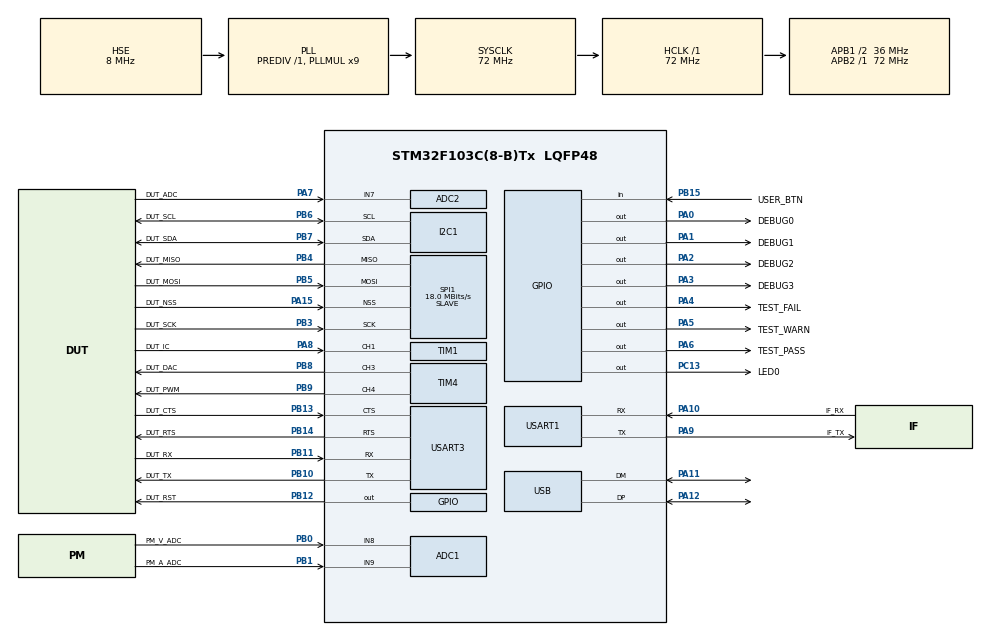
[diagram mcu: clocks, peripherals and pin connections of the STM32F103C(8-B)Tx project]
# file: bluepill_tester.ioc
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ADC1.Channel-4\#ChannelRegularConversion=ADC_CHANNEL_9
ADC1.Channel-6\#ChannelRegularConversion=ADC_CHANNEL_8
ADC1.ContinuousConvMode=ENABLE
ADC1.DataAlign=ADC_DATAALIGN_RIGHT
ADC1.DiscontinuousConvMode=DISABLE
ADC1.EnableAnalogWatchDog=false
ADC1.EnableRegularConversion=ENABLE
ADC1.ExternalTrigConv=ADC_SOFTWARE_START
ADC1.InjNumberOfConversion=0
ADC1.NbrOfConversion=2
ADC1.NbrOfConversionFlag=1
ADC1.Rank-4\#ChannelRegularConversion=1
ADC1.Rank-6\#ChannelRegularConversion=2
ADC1.SamplingTime-4\#ChannelRegularConversion=ADC_SAMPLETIME_1CYCLE_5
ADC1.SamplingTime-6\#ChannelRegularConversion=ADC_SAMPLETIME_1CYCLE_5
ADC1.ScanConvMode=ADC_SCAN_ENABLE
ADC1.master=1
ADC2.Channel-8\#ChannelRegularConversion=ADC_CHANNEL_7
ADC2.ContinuousConvMode=ENABLE
ADC2.NbrOfConversionFlag=1
ADC2.Rank-8\#ChannelRegularConversion=1
ADC2.SamplingTime-8\#ChannelRegularConversion=ADC_SAMPLETIME_1CYCLE_5
Dma.ADC1.4.Direction=DMA_PERIPH_TO_MEMORY
Dma.ADC1.4.Instance=DMA1_Channel1
Dma.ADC1.4.MemDataAlignment=DMA_MDATAALIGN_HALFWORD
Dma.ADC1.4.MemInc=DMA_MINC_ENABLE
Dma.ADC1.4.Mode=DMA_NORMAL
Dma.ADC1.4.PeriphDataAlignment=DMA_PDATAALIGN_HALFWORD
Dma.ADC1.4.PeriphInc=DMA_PINC_DISABLE
Dma.ADC1.4.Priority=DMA_PRIORITY_LOW
Dma.Request0=USART1_RX
Dma.Request1=USART1_TX
Dma.Request2=USART3_RX
Dma.Request3=USART3_TX
Dma.Request4=ADC1
Dma.USART1_RX.0.Direction=DMA_PERIPH_TO_MEMORY
Dma.USART1_RX.0.Instance=DMA1_Channel5
Dma.USART1_RX.0.MemDataAlignment=DMA_MDATAALIGN_BYTE
Dma.USART1_RX.0.MemInc=DMA_MINC_ENABLE
Dma.USART1_RX.0.Mode=DMA_NORMAL
Dma.USART1_RX.0.PeriphDataAlignment=DMA_PDATAALIGN_BYTE
Dma.USART1_RX.0.PeriphInc=DMA_PINC_DISABLE
Dma.USART1_RX.0.Priority=DMA_PRIORITY_LOW
Dma.USART1_TX.1.Direction=DMA_MEMORY_TO_PERIPH
Dma.USART1_TX.1.Instance=DMA1_Channel4
Dma.USART1_TX.1.MemDataAlignment=DMA_MDATAALIGN_BYTE
Dma.USART1_TX.1.MemInc=DMA_MINC_ENABLE
Dma.USART1_TX.1.Mode=DMA_NORMAL
Dma.USART1_TX.1.PeriphDataAlignment=DMA_PDATAALIGN_BYTE
Dma.USART1_TX.1.PeriphInc=DMA_PINC_DISABLE
Dma.USART1_TX.1.Priority=DMA_PRIORITY_LOW
Dma.USART3_RX.2.Direction=DMA_PERIPH_TO_MEMORY
Dma.USART3_RX.2.Instance=DMA1_Channel3
Dma.USART3_RX.2.MemDataAlignment=DMA_MDATAALIGN_BYTE
Dma.USART3_RX.2.MemInc=DMA_MINC_ENABLE
Dma.USART3_RX.2.Mode=DMA_NORMAL
Dma.USART3_RX.2.PeriphDataAlignment=DMA_PDATAALIGN_BYTE
Dma.USART3_RX.2.PeriphInc=DMA_PINC_DISABLE
Dma.USART3_RX.2.Priority=DMA_PRIORITY_LOW
Dma.USART3_TX.3.Direction=DMA_MEMORY_TO_PERIPH
Dma.USART3_TX.3.Instance=DMA1_Channel2
Dma.USART3_TX.3.MemDataAlignment=DMA_MDATAALIGN_BYTE
Dma.USART3_TX.3.MemInc=DMA_MINC_ENABLE
Dma.USART3_TX.3.Mode=DMA_NORMAL
Dma.USART3_TX.3.PeriphDataAlignment=DMA_PDATAALIGN_BYTE
Dma.USART3_TX.3.PeriphInc=DMA_PINC_DISABLE
Dma.USART3_TX.3.Priority=DMA_PRIORITY_LOW
I2C1.DualAddressMode=I2C_DUALADDRESS_ENABLE
I2C1.GeneralCallMode=I2C_GENERALCALL_ENABLE
I2C1.I2C_Mode=I2C_Fast
I2C1.NoStretchMode=I2C_NOSTRETCH_DISABLE
I2C1.OwnAddress=85
I2C1.OwnAddress2=64
IWDG.Prescaler=IWDG_PRESCALER_32
Mcu.Family=STM32F1
Mcu.Name=STM32F103C(8-B)Tx
Mcu.Package=LQFP48
NVIC.ADC1_2_IRQn=true\:0\:0\:false\:false\:true\:true
NVIC.DMA1_Channel1_IRQn=true\:0\:0\:false\:false\:true\:false
NVIC.DMA1_Channel2_IRQn=true\:0\:0\:false\:false\:true\:false
NVIC.DMA1_Channel3_IRQn=true\:0\:0\:false\:false\:true\:false
NVIC.DMA1_Channel4_IRQn=true\:0\:0\:false\:false\:true\:false
NVIC.DMA1_Channel5_IRQn=true\:0\:0\:false\:false\:true\:false
NVIC.I2C1_ER_IRQn=true\:0\:0\:false\:false\:true\:true
NVIC.I2C1_EV_IRQn=true\:0\:0\:false\:false\:true\:true
NVIC.PriorityGroup=NVIC_PRIORITYGROUP_4
NVIC.SPI1_IRQn=true\:0\:0\:false\:false\:true\:true
NVIC.TIM1_UP_IRQn=true\:0\:0\:false\:false\:true\:true
NVIC.USART3_IRQn=true\:0\:0\:false\:false\:true\:true
NVIC.USB_LP_CAN1_RX0_IRQn=true\:0\:0\:false\:false\:true\:false
PA0-WKUP.GPIO_Label=DEBUG0
PA0-WKUP.GPIO_ModeDefaultOutputPP=GPIO_MODE_OUTPUT_PP
PA0-WKUP.GPIO_Speed=GPIO_SPEED_FREQ_LOW
PA0-WKUP.PinState=GPIO_PIN_RESET
PA0-WKUP.Signal=GPIO_Output
PA1.GPIO_Label=DEBUG1
PA1.GPIO_ModeDefaultOutputPP=GPIO_MODE_OUTPUT_PP
PA1.GPIO_Speed=GPIO_SPEED_FREQ_LOW
PA1.PinState=GPIO_PIN_RESET
PA1.Signal=GPIO_Output
PA10.GPIO_Label=IF_RX
PA10.Mode=Asynchronous
PA10.Signal=USART1_RX
PA11.Mode=Device
PA11.Signal=USB_DM
PA12.Mode=Device
PA12.Signal=USB_DP
PA13.Mode=Serial_Wire
PA13.Signal=SYS_JTMS-SWDIO
PA14.Mode=Serial_Wire
PA14.Signal=SYS_JTCK-SWCLK
PA15.GPIO_Label=DUT_NSS
PA15.GPIO_Mode=GPIO_MODE_INPUT
PA15.GPIO_PuPd=GPIO_NOPULL
PA15.Mode=NSS_Signal_Hard_Input
PA15.Signal=SPI1_NSS
PA2.GPIO_Label=DEBUG2
PA2.GPIO_ModeDefaultOutputPP=GPIO_MODE_OUTPUT_PP
PA2.GPIO_Speed=GPIO_SPEED_FREQ_LOW
PA2.PinState=GPIO_PIN_RESET
PA2.Signal=GPIO_Output
PA3.GPIO_Label=DEBUG3
PA3.GPIO_ModeDefaultOutputPP=GPIO_MODE_OUTPUT_PP
PA3.GPIO_Speed=GPIO_SPEED_FREQ_LOW
PA3.PinState=GPIO_PIN_RESET
PA3.Signal=GPIO_Output
PA4.GPIO_Label=TEST_FAIL
PA4.GPIO_ModeDefaultOutputPP=GPIO_MODE_OUTPUT_PP
PA4.GPIO_Speed=GPIO_SPEED_FREQ_LOW
PA4.PinState=GPIO_PIN_RESET
PA4.Signal=GPIO_Output
PA5.GPIO_Label=TEST_WARN
PA5.GPIO_ModeDefaultOutputPP=GPIO_MODE_OUTPUT_PP
PA5.GPIO_Speed=GPIO_SPEED_FREQ_LOW
PA5.PinState=GPIO_PIN_RESET
PA5.Signal=GPIO_Output
PA6.GPIO_Label=TEST_PASS
PA6.GPIO_ModeDefaultOutputPP=GPIO_MODE_OUTPUT_PP
PA6.GPIO_Speed=GPIO_SPEED_FREQ_LOW
PA6.PinState=GPIO_PIN_RESET
PA6.Signal=GPIO_Output
PA7.GPIO_Label=DUT_ADC
PA7.GPIO_Mode=GPIO_MODE_ANALOG
PA7.Signal=ADCx_IN7
PA8.GPIO_Label=DUT_IC
PA8.GPIO_Mode=GPIO_MODE_INPUT
PA8.GPIO_PuPd=GPIO_PULLUP
PA8.Signal=S_TIM1_CH1
PA9.GPIO_Label=IF_TX
PA9.Mode=Asynchronous
PA9.Signal=USART1_TX
PB0.GPIO_Label=PM_V_ADC
PB0.GPIO_Mode=GPIO_MODE_ANALOG
PB0.Signal=ADCx_IN8
PB1.GPIO_Label=PM_A_ADC
PB1.GPIO_Mode=GPIO_MODE_ANALOG
PB1.Signal=ADCx_IN9
PB10.GPIO_Label=DUT_TX
PB10.GPIO_Mode=GPIO_MODE_AF_PP
PB10.GPIO_Speed=GPIO_SPEED_FREQ_HIGH
PB10.Mode=Asynchronous
PB10.Signal=USART3_TX
PB11.GPIO_Label=DUT_RX
PB11.GPIO_Mode=GPIO_MODE_INPUT
PB11.GPIO_PuPd=GPIO_NOPULL
PB11.Mode=Asynchronous
PB11.Signal=USART3_RX
PB12.GPIO_Label=DUT_RST
PB12.GPIO_ModeDefaultOutputPP=GPIO_MODE_OUTPUT_OD
PB12.GPIO_Speed=GPIO_SPEED_FREQ_LOW
PB12.PinState=GPIO_PIN_SET
PB12.Signal=GPIO_Output
PB13.GPIO_Label=DUT_CTS
PB13.GPIO_Mode=GPIO_MODE_INPUT
PB13.GPIO_PuPd=GPIO_NOPULL
PB13.Mode=CTS_RTS
PB13.Signal=USART3_CTS
PB14.GPIO_Label=DUT_RTS
PB14.GPIO_Mode=GPIO_MODE_AF_PP
PB14.GPIO_Speed=GPIO_SPEED_FREQ_HIGH
PB14.Mode=CTS_RTS
PB14.Signal=USART3_RTS
PB15.GPIO_Label=USER_BTN
PB15.GPIO_Mode=GPIO_MODE_INPUT
PB15.GPIO_PuPd=GPIO_PULLUP
PB15.Signal=GPIO_Input
PB3.GPIO_Label=DUT_SCK
PB3.GPIO_Mode=GPIO_MODE_INPUT
PB3.GPIO_PuPd=GPIO_NOPULL
PB3.Mode=Full_Duplex_Slave
PB3.Signal=SPI1_SCK
PB4.GPIO_Label=DUT_MISO
PB4.GPIO_ModeDefaultPP=GPIO_MODE_AF_PP
PB4.GPIO_Speed=GPIO_SPEED_FREQ_HIGH
PB4.Mode=Full_Duplex_Slave
PB4.Signal=SPI1_MISO
PB5.GPIO_Label=DUT_MOSI
PB5.GPIO_Mode=GPIO_MODE_INPUT
PB5.GPIO_PuPd=GPIO_NOPULL
PB5.Mode=Full_Duplex_Slave
PB5.Signal=SPI1_MOSI
PB6.GPIO_Label=DUT_SCL
PB6.GPIO_Mode=GPIO_MODE_AF_OD
PB6.GPIO_Speed=GPIO_SPEED_FREQ_HIGH
PB6.Mode=I2C
PB6.Signal=I2C1_SCL
PB7.GPIO_Label=DUT_SDA
PB7.GPIO_Mode=GPIO_MODE_AF_OD
PB7.GPIO_Speed=GPIO_SPEED_FREQ_HIGH
PB7.Mode=I2C
PB7.Signal=I2C1_SDA
PB8.GPIO_Label=DUT_DAC
PB8.GPIO_ModeDefaultPP=GPIO_MODE_AF_PP
PB8.GPIO_Speed=GPIO_SPEED_FREQ_LOW
PB8.Signal=S_TIM4_CH3
PB9.GPIO_Label=DUT_PWM
PB9.GPIO_ModeDefaultPP=GPIO_MODE_AF_PP
PB9.GPIO_Speed=GPIO_SPEED_FREQ_LOW
PB9.Signal=S_TIM4_CH4
PC13-TAMPER-RTC.GPIO_Label=LED0
PC13-TAMPER-RTC.GPIO_ModeDefaultOutputPP=GPIO_MODE_OUTPUT_PP
PC13-TAMPER-RTC.GPIO_Speed=GPIO_SPEED_FREQ_LOW
PC13-TAMPER-RTC.PinState=GPIO_PIN_RESET
PC13-TAMPER-RTC.Signal=GPIO_Output
PC14-OSC32_IN.Mode=LSE-External-Oscillator
PC14-OSC32_IN.Signal=RCC_OSC32_IN
PC15-OSC32_OUT.Mode=LSE-External-Oscillator
PC15-OSC32_OUT.Signal=RCC_OSC32_OUT
PD0-OSC_IN.Mode=HSE-External-Oscillator
PD0-OSC_IN.Signal=RCC_OSC_IN
PD1-OSC_OUT.Mode=HSE-External-Oscillator
PD1-OSC_OUT.Signal=RCC_OSC_OUT
ProjectManager.HeapSize=0x200
ProjectManager.StackSize=0x400
ProjectManager.TargetToolchain=SW4STM32
RCC.ADCPresc=RCC_ADCPCLK2_DIV6
RCC.AHBFreq_Value=72000000
RCC.APB1CLKDivider=RCC_HCLK_DIV2
RCC.APB1Freq_Value=36000000
RCC.APB1TimFreq_Value=72000000
RCC.APB2Freq_Value=72000000
RCC.APB2TimFreq_Value=72000000
RCC.HCLKFreq_Value=72000000
RCC.PLLMUL=RCC_PLL_MUL9
RCC.PLLSourceVirtual=RCC_PLLSOURCE_HSE
RCC.RTCClockSelection=RCC_RTCCLKSOURCE_LSE
RCC.SYSCLKFreq_VALUE=72000000
RCC.SYSCLKSource=RCC_SYSCLKSOURCE_PLLCLK
RCC.USBFreq_Value=48000000
RCC.USBPrescaler=RCC_USBCLKSOURCE_PLL_DIV1_5
RTC.Format=RTC_FORMAT_BIN
RTC.Year=18
SH.ADCx_IN7.0=ADC2_IN7,IN7
SH.ADCx_IN8.0=ADC1_IN8,IN8
SH.ADCx_IN9.0=ADC1_IN9,IN9
SH.S_TIM1_CH1.0=TIM1_CH1,Input_Capture1_from_TI1
SH.S_TIM4_CH3.0=TIM4_CH3,PWM Generation3 CH3
SH.S_TIM4_CH4.0=TIM4_CH4,PWM Generation4 CH4
SPI1.BaudRatePrescaler=SPI_BAUDRATEPRESCALER_4
SPI1.CalculateBaudRate=18.0 MBits/s
SPI1.Direction=SPI_DIRECTION_2LINES
SPI1.Mode=SPI_MODE_SLAVE
SPI1.VirtualNSS=VM_NSSHARD
SPI1.VirtualType=VM_SLAVE
TIM1.Channel-Input_Capture1_from_TI1=TIM_CHANNEL_1
TIM4.Channel-PWM\ Generation3\ CH3=TIM_CHANNEL_3
TIM4.Channel-PWM\ Generation4\ CH4=TIM_CHANNEL_4
TIM4.Pulse-PWM\ Generation3\ CH3=1
TIM4.Pulse-PWM\ Generation4\ CH4=32768
USART1.VirtualMode=VM_ASYNC
USART3.VirtualMode=VM_ASYNC
USB.ep0_mps=DEP0CTL_MPS_64
USB_DEVICE.APP_RX_DATA_SIZE=512
USB_DEVICE.APP_TX_DATA_SIZE=512
USB_DEVICE.CLASS_NAME_FS=CDC
USB_DEVICE.MANUFACTURER_STRING=RIOTos
USB_DEVICE.PRODUCT_STRING_CDC_FS=Virtual ComPort
USB_DEVICE.VirtualMode=Cdc
USB_DEVICE.VirtualModeFS=Cdc_FS
VP_IWDG_VS_IWDG.Mode=IWDG_Activate
VP_RTC_No_RTC_Output.Mode=RTC_OUT_NO
VP_RTC_VS_RTC_Activate.Mode=RTC_Enabled
VP_RTC_VS_RTC_Calendar.Mode=RTC_Calendar
VP_USB_DEVICE_VS_USB_DEVICE_CDC_FS.Mode=CDC_FS
board=bluepill_tester

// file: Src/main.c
/**
 ******************************************************************************
 * @file           : main.c
 * @brief          : Main program body
 ******************************************************************************
 * This notice applies to any and all portions of this file
 * that are not between comment pairs USER CODE BEGIN and
 * USER CODE END. Other portions of this file, whether
 * inserted by the user or by software development tools
 * are owned by their respective copyright owners.
 *
 * Copyright (c) 2018 STMicroelectronics International N.V.
 * All rights reserved.
 *
 * Redistribution and use in source and binary forms, with or without
 * modification, are permitted, provided that the following conditions are met:
 *
 * 1. Redistribution of source code must retain the above copyright notice,
 *    this list of conditions and the following disclaimer.
 * 2. Redistributions in binary form must reproduce the above copyright notice,
 *    this list of conditions and the following disclaimer in the documentation
 *    and/or other materials provided with the distribution.
 * 3. Neither the name of STMicroelectronics nor the names of other
 *    contributors to this software may be used to endorse or promote products
 *    derived from this software without specific written permission.
 * 4. This software, including modifications and/or derivative works of this
 *    software, must execute solely and exclusively on microcontroller or
 *    microprocessor devices manufactured by or for STMicroelectronics.
 * 5. Redistribution and use of this software other than as permitted under
 *    this license is void and will automatically terminate your rights under
 *    this license.
 *
 * THIS SOFTWARE IS PROVIDED BY STMICROELECTRONICS AND CONTRIBUTORS "AS IS"
 * AND ANY EXPRESS, IMPLIED OR STATUTORY WARRANTIES, INCLUDING, BUT NOT
 * LIMITED TO, THE IMPLIED WARRANTIES OF MERCHANTABILITY, FITNESS FOR A
 * PARTICULAR PURPOSE AND NON-INFRINGEMENT OF THIRD PARTY INTELLECTUAL PROPERTY
 * RIGHTS ARE DISCLAIMED TO THE FULLEST EXTENT PERMITTED BY LAW. IN NO EVENT
 * SHALL STMICROELECTRONICS OR CONTRIBUTORS BE LIABLE FOR ANY DIRECT, INDIRECT,
 * INCIDENTAL, SPECIAL, EXEMPLARY, OR CONSEQUENTIAL DAMAGES (INCLUDING, BUT NOT
 * LIMITED TO, PROCUREMENT OF SUBSTITUTE GOODS OR SERVICES; LOSS OF USE, DATA,
 * OR PROFITS; OR BUSINESS INTERRUPTION) HOWEVER CAUSED AND ON ANY THEORY OF
 * LIABILITY, WHETHER IN CONTRACT, STRICT LIABILITY, OR TORT (INCLUDING
 * NEGLIGENCE OR OTHERWISE) ARISING IN ANY WAY OUT OF THE USE OF THIS SOFTWARE,
 * EVEN IF ADVISED OF THE POSSIBILITY OF SUCH DAMAGE.
 *
 ******************************************************************************
 */
#include "main.h"
#include "stm32f1xx_hal.h"
#include "usb_device.h"

/* USER CODE BEGIN Includes */
#include "port_usb.h"
#include "port_uart.h"
#include "app_access.h"
#include "app_typedef.h"
#include "app_common.h"
#include "app_defaults.h"
#include "usbd_cdc.h"

#include "app_shell_if.h"
#include "app_i2c.h"
#include "port_dut_uart.h"
#include "app.h"

/* USER CODE END Includes */

ADC_HandleTypeDef hadc1;
ADC_HandleTypeDef hadc2;
DMA_HandleTypeDef hdma_adc1;

I2C_HandleTypeDef hi2c1;

IWDG_HandleTypeDef hiwdg;

RTC_HandleTypeDef hrtc;

SPI_HandleTypeDef hspi1;

TIM_HandleTypeDef htim1;
TIM_HandleTypeDef htim4;

UART_HandleTypeDef huart1;
UART_HandleTypeDef huart3;
DMA_HandleTypeDef hdma_usart1_rx;
DMA_HandleTypeDef hdma_usart1_tx;
DMA_HandleTypeDef hdma_usart3_rx;
DMA_HandleTypeDef hdma_usart3_tx;

/* USER CODE BEGIN PV */
/* Private variables ---------------------------------------------------------*/
#define H_DUT_UART	huart3
#define H_IF_UART	huart1
#define H_DUT_I2C	hi2c1

#define UART_BUF_SIZE	512
/* USER CODE END PV */

void SystemClock_Config(void);
static void MX_GPIO_Init(void);
static void MX_DMA_Init(void);
static void MX_I2C1_Init(void);
static void MX_IWDG_Init(void);
static void MX_RTC_Init(void);
static void MX_TIM1_Init(void);
static void MX_TIM4_Init(void);
static void MX_SPI1_Init(void);
static void MX_USART3_UART_Init(void);
static void MX_ADC1_Init(void);
static void MX_ADC2_Init(void);
static void MX_USART1_UART_Init(void);

void HAL_TIM_MspPostInit(TIM_HandleTypeDef *htim);

/* USER CODE BEGIN PFP */
/* Private function prototypes -----------------------------------------------*/

/* USER CODE END PFP */

int main(void) {
	/* USER CODE BEGIN 1 */
	int32_t led_tick = 0;
  char dut_uart_buf[UART_BUF_SIZE] = { 0 };
	char if_uart_buf[UART_BUF_SIZE] = { 0 };
	char if_usb_buf[UART_BUF_SIZE] = { 0 };

	PORT_USB_t usb_if = {.str = if_usb_buf, .size = sizeof(if_usb_buf), .access = IF_ACCESS, .index = 0, .mode = MODE_REG};
	PORT_UART_t uart_if = {.huart = &H_IF_UART, .str = if_uart_buf, .size = sizeof(if_uart_buf), .access = IF_ACCESS, .mode = MODE_REG};
	PORT_UART_t uart_dut = {.huart = &H_DUT_UART, .str = dut_uart_buf, .size = sizeof(dut_uart_buf), .access = PERIPH_ACCESS, .mode = MODE_ECHO};
	/* USER CODE END 1 */

	/* MCU Configuration----------------------------------------------------------*/

	/* Reset of all peripherals, Initializes the Flash interface and the Systick. */
	HAL_Init();

	/* Configure the system clock */
	SystemClock_Config();

	/* USER CODE BEGIN SysInit */
	__HAL_RCC_I2C1_CLK_ENABLE()
	; /* Prevents i2c clk from toggling at init */
	/* USER CODE END SysInit */

	/* Initialize all configured peripherals */
	MX_GPIO_Init();
	MX_DMA_Init();
	MX_I2C1_Init();
	MX_IWDG_Init();
	MX_RTC_Init();
	MX_TIM1_Init();
	MX_TIM4_Init();
	MX_SPI1_Init();
	MX_USB_DEVICE_Init();
	MX_USART3_UART_Init();
	MX_ADC1_Init();
	MX_ADC2_Init();
	MX_USART1_UART_Init();
	/* USER CODE BEGIN 2 */
	port_uart_init(&uart_if);
	uart_dut_init(&uart_dut);
	app_i2c_init(&H_DUT_I2C);
	execute_reg_change();
	/* USER CODE END 2 */

	/* Infinite loop */
	/* USER CODE BEGIN WHILE */
	while (1) {
		if (led_tick < HAL_GetTick()) {
			if ((FW_REV & 0x03) == 0) {
				led_tick = HAL_GetTick() + 40;
			}
			else if ((FW_REV & 0x03) == 1){
				led_tick = HAL_GetTick() + 200;
			}
			else if ((FW_REV & 0x03) == 2){
				led_tick = HAL_GetTick() + 500;
			}
			else if ((FW_REV & 0x03) == 3){
				led_tick = HAL_GetTick() + 1000;
			}
			HAL_GPIO_TogglePin(LED0_GPIO_Port, LED0_Pin);
		}
		if (HAL_IWDG_Refresh(&hiwdg) != HAL_OK) {
		}
		port_usb_poll(&usb_if);
		port_uart_poll(&uart_if);
		port_uart_poll(&uart_dut);
		/* USER CODE END WHILE */

	}

}

void SystemClock_Config(void) {

	RCC_OscInitTypeDef RCC_OscInitStruct;
	RCC_ClkInitTypeDef RCC_ClkInitStruct;
	RCC_PeriphCLKInitTypeDef PeriphClkInit;

	/**Initializes the CPU, AHB and APB busses clocks
	 */
	RCC_OscInitStruct.OscillatorType = RCC_OSCILLATORTYPE_LSI
			| RCC_OSCILLATORTYPE_HSE | RCC_OSCILLATORTYPE_LSE;
	RCC_OscInitStruct.HSEState = RCC_HSE_ON;
	RCC_OscInitStruct.HSEPredivValue = RCC_HSE_PREDIV_DIV1;
	RCC_OscInitStruct.LSEState = RCC_LSE_ON;
	RCC_OscInitStruct.HSIState = RCC_HSI_ON;
	RCC_OscInitStruct.LSIState = RCC_LSI_ON;
	RCC_OscInitStruct.PLL.PLLState = RCC_PLL_ON;
	RCC_OscInitStruct.PLL.PLLSource = RCC_PLLSOURCE_HSE;
	RCC_OscInitStruct.PLL.PLLMUL = RCC_PLL_MUL9;
	if (HAL_RCC_OscConfig(&RCC_OscInitStruct) != HAL_OK) {
		_Error_Handler(__FILE__, __LINE__);
	}

	/**Initializes the CPU, AHB and APB busses clocks
	 */
	RCC_ClkInitStruct.ClockType = RCC_CLOCKTYPE_HCLK | RCC_CLOCKTYPE_SYSCLK
			| RCC_CLOCKTYPE_PCLK1 | RCC_CLOCKTYPE_PCLK2;
	RCC_ClkInitStruct.SYSCLKSource = RCC_SYSCLKSOURCE_PLLCLK;
	RCC_ClkInitStruct.AHBCLKDivider = RCC_SYSCLK_DIV1;
	RCC_ClkInitStruct.APB1CLKDivider = RCC_HCLK_DIV2;
	RCC_ClkInitStruct.APB2CLKDivider = RCC_HCLK_DIV1;

	if (HAL_RCC_ClockConfig(&RCC_ClkInitStruct, FLASH_LATENCY_2) != HAL_OK) {
		_Error_Handler(__FILE__, __LINE__);
	}

	PeriphClkInit.PeriphClockSelection = RCC_PERIPHCLK_RTC | RCC_PERIPHCLK_ADC
			| RCC_PERIPHCLK_USB;
	PeriphClkInit.RTCClockSelection = RCC_RTCCLKSOURCE_LSE;
	PeriphClkInit.AdcClockSelection = RCC_ADCPCLK2_DIV6;
	PeriphClkInit.UsbClockSelection = RCC_USBCLKSOURCE_PLL_DIV1_5;
	if (HAL_RCCEx_PeriphCLKConfig(&PeriphClkInit) != HAL_OK) {
		_Error_Handler(__FILE__, __LINE__);
	}

	/**Configure the Systick interrupt time
	 */
	HAL_SYSTICK_Config(HAL_RCC_GetHCLKFreq() / 1000);

	/**Configure the Systick
	 */
	HAL_SYSTICK_CLKSourceConfig(SYSTICK_CLKSOURCE_HCLK);

	/* SysTick_IRQn interrupt configuration */
	HAL_NVIC_SetPriority(SysTick_IRQn, 0, 0);
}

/* ADC1 init function */
static void MX_ADC1_Init(void) {

	ADC_ChannelConfTypeDef sConfig;

	/**Common config
	 */
	hadc1.Instance = ADC1;
	hadc1.Init.ScanConvMode = ADC_SCAN_ENABLE;
	hadc1.Init.ContinuousConvMode = ENABLE;
	hadc1.Init.DiscontinuousConvMode = DISABLE;
	hadc1.Init.ExternalTrigConv = ADC_SOFTWARE_START;
	hadc1.Init.DataAlign = ADC_DATAALIGN_RIGHT;
	hadc1.Init.NbrOfConversion = 2;
	if (HAL_ADC_Init(&hadc1) != HAL_OK) {
		_Error_Handler(__FILE__, __LINE__);
	}

	/**Configure Regular Channel
	 */
	sConfig.Channel = ADC_CHANNEL_9;
	sConfig.Rank = ADC_REGULAR_RANK_1;
	sConfig.SamplingTime = ADC_SAMPLETIME_1CYCLE_5;
	if (HAL_ADC_ConfigChannel(&hadc1, &sConfig) != HAL_OK) {
		_Error_Handler(__FILE__, __LINE__);
	}

	/**Configure Regular Channel
	 */
	sConfig.Channel = ADC_CHANNEL_8;
	sConfig.Rank = ADC_REGULAR_RANK_2;
	if (HAL_ADC_ConfigChannel(&hadc1, &sConfig) != HAL_OK) {
		_Error_Handler(__FILE__, __LINE__);
	}

}

/* ADC2 init function */
static void MX_ADC2_Init(void) {

	ADC_ChannelConfTypeDef sConfig;

	/**Common config
	 */
	hadc2.Instance = ADC2;
	hadc2.Init.ScanConvMode = ADC_SCAN_DISABLE;
	hadc2.Init.ContinuousConvMode = ENABLE;
	hadc2.Init.DiscontinuousConvMode = DISABLE;
	hadc2.Init.ExternalTrigConv = ADC_SOFTWARE_START;
	hadc2.Init.DataAlign = ADC_DATAALIGN_RIGHT;
	hadc2.Init.NbrOfConversion = 1;
	if (HAL_ADC_Init(&hadc2) != HAL_OK) {
		_Error_Handler(__FILE__, __LINE__);
	}

	/**Configure Regular Channel
	 */
	sConfig.Channel = ADC_CHANNEL_7;
	sConfig.Rank = ADC_REGULAR_RANK_1;
	sConfig.SamplingTime = ADC_SAMPLETIME_1CYCLE_5;
	if (HAL_ADC_ConfigChannel(&hadc2, &sConfig) != HAL_OK) {
		_Error_Handler(__FILE__, __LINE__);
	}

}

/* I2C1 init function */
static void MX_I2C1_Init(void) {

	hi2c1.Instance = I2C1;
	hi2c1.Init.ClockSpeed = 400000;
	hi2c1.Init.DutyCycle = I2C_DUTYCYCLE_2;
	hi2c1.Init.OwnAddress1 = 170;
	hi2c1.Init.AddressingMode = I2C_ADDRESSINGMODE_7BIT;
	hi2c1.Init.DualAddressMode = I2C_DUALADDRESS_ENABLE;
	hi2c1.Init.OwnAddress2 = 128;
	hi2c1.Init.GeneralCallMode = I2C_GENERALCALL_ENABLE;
	hi2c1.Init.NoStretchMode = I2C_NOSTRETCH_DISABLE;
	if (HAL_I2C_Init(&hi2c1) != HAL_OK) {
		_Error_Handler(__FILE__, __LINE__);
	}

}

/* IWDG init function */
static void MX_IWDG_Init(void) {

	hiwdg.Instance = IWDG;
	hiwdg.Init.Prescaler = IWDG_PRESCALER_32;
	hiwdg.Init.Reload = 4095;
	if (HAL_IWDG_Init(&hiwdg) != HAL_OK) {
		_Error_Handler(__FILE__, __LINE__);
	}

}

/* RTC init function */
static void MX_RTC_Init(void) {

	RTC_TimeTypeDef sTime;
	RTC_DateTypeDef DateToUpdate;

	/**Initialize RTC Only
	 */
	hrtc.Instance = RTC;
	if (HAL_RTCEx_BKUPRead(&hrtc, RTC_BKP_DR1) != 0x32F2) {
		hrtc.Init.AsynchPrediv = RTC_AUTO_1_SECOND;
		hrtc.Init.OutPut = RTC_OUTPUTSOURCE_NONE;
		if (HAL_RTC_Init(&hrtc) != HAL_OK) {
			_Error_Handler(__FILE__, __LINE__);
		}

		/**Initialize RTC and set the Time and Date
		 */
		sTime.Hours = 1;
		sTime.Minutes = 0;
		sTime.Seconds = 0;

		if (HAL_RTC_SetTime(&hrtc, &sTime, RTC_FORMAT_BIN) != HAL_OK) {
			_Error_Handler(__FILE__, __LINE__);
		}

		DateToUpdate.WeekDay = RTC_WEEKDAY_MONDAY;
		DateToUpdate.Month = RTC_MONTH_JANUARY;
		DateToUpdate.Date = 1;
		DateToUpdate.Year = 18;

		if (HAL_RTC_SetDate(&hrtc, &DateToUpdate, RTC_FORMAT_BIN) != HAL_OK) {
			_Error_Handler(__FILE__, __LINE__);
		}

		HAL_RTCEx_BKUPWrite(&hrtc, RTC_BKP_DR1, 0x32F2);
	}

}

/* SPI1 init function */
static void MX_SPI1_Init(void) {

	/* SPI1 parameter configuration*/
	hspi1.Instance = SPI1;
	hspi1.Init.Mode = SPI_MODE_SLAVE;
	hspi1.Init.Direction = SPI_DIRECTION_2LINES;
	hspi1.Init.DataSize = SPI_DATASIZE_8BIT;
	hspi1.Init.CLKPolarity = SPI_POLARITY_LOW;
	hspi1.Init.CLKPhase = SPI_PHASE_1EDGE;
	hspi1.Init.NSS = SPI_NSS_HARD_INPUT;
	hspi1.Init.BaudRatePrescaler = SPI_BAUDRATEPRESCALER_4;
	hspi1.Init.FirstBit = SPI_FIRSTBIT_MSB;
	hspi1.Init.TIMode = SPI_TIMODE_DISABLE;
	hspi1.Init.CRCCalculation = SPI_CRCCALCULATION_DISABLE;
	hspi1.Init.CRCPolynomial = 10;
	if (HAL_SPI_Init(&hspi1) != HAL_OK) {
		_Error_Handler(__FILE__, __LINE__);
	}

}

/* TIM1 init function */
static void MX_TIM1_Init(void) {

	TIM_MasterConfigTypeDef sMasterConfig;
	TIM_IC_InitTypeDef sConfigIC;

	htim1.Instance = TIM1;
	htim1.Init.Prescaler = 0;
	htim1.Init.CounterMode = TIM_COUNTERMODE_UP;
	htim1.Init.Period = 0;
	htim1.Init.ClockDivision = TIM_CLOCKDIVISION_DIV1;
	htim1.Init.RepetitionCounter = 0;
	htim1.Init.AutoReloadPreload = TIM_AUTORELOAD_PRELOAD_DISABLE;
	if (HAL_TIM_IC_Init(&htim1) != HAL_OK) {
		_Error_Handler(__FILE__, __LINE__);
	}

	sMasterConfig.MasterOutputTrigger = TIM_TRGO_RESET;
	sMasterConfig.MasterSlaveMode = TIM_MASTERSLAVEMODE_DISABLE;
	if (HAL_TIMEx_MasterConfigSynchronization(&htim1, &sMasterConfig)
			!= HAL_OK) {
		_Error_Handler(__FILE__, __LINE__);
	}

	sConfigIC.ICPolarity = TIM_INPUTCHANNELPOLARITY_RISING;
	sConfigIC.ICSelection = TIM_ICSELECTION_DIRECTTI;
	sConfigIC.ICPrescaler = TIM_ICPSC_DIV1;
	sConfigIC.ICFilter = 0;
	if (HAL_TIM_IC_ConfigChannel(&htim1, &sConfigIC, TIM_CHANNEL_1) != HAL_OK) {
		_Error_Handler(__FILE__, __LINE__);
	}

}

/* TIM4 init function */
static void MX_TIM4_Init(void) {

	TIM_MasterConfigTypeDef sMasterConfig;
	TIM_OC_InitTypeDef sConfigOC;

	htim4.Instance = TIM4;
	htim4.Init.Prescaler = 0;
	htim4.Init.CounterMode = TIM_COUNTERMODE_UP;
	htim4.Init.Period = 0;
	htim4.Init.ClockDivision = TIM_CLOCKDIVISION_DIV1;
	htim4.Init.AutoReloadPreload = TIM_AUTORELOAD_PRELOAD_DISABLE;
	if (HAL_TIM_PWM_Init(&htim4) != HAL_OK) {
		_Error_Handler(__FILE__, __LINE__);
	}

	sMasterConfig.MasterOutputTrigger = TIM_TRGO_RESET;
	sMasterConfig.MasterSlaveMode = TIM_MASTERSLAVEMODE_DISABLE;
	if (HAL_TIMEx_MasterConfigSynchronization(&htim4, &sMasterConfig)
			!= HAL_OK) {
		_Error_Handler(__FILE__, __LINE__);
	}

	sConfigOC.OCMode = TIM_OCMODE_PWM1;
	sConfigOC.Pulse = 1;
	sConfigOC.OCPolarity = TIM_OCPOLARITY_HIGH;
	sConfigOC.OCFastMode = TIM_OCFAST_DISABLE;
	if (HAL_TIM_PWM_ConfigChannel(&htim4, &sConfigOC, TIM_CHANNEL_3)
			!= HAL_OK) {
		_Error_Handler(__FILE__, __LINE__);
	}

	sConfigOC.Pulse = 32768;
	if (HAL_TIM_PWM_ConfigChannel(&htim4, &sConfigOC, TIM_CHANNEL_4)
			!= HAL_OK) {
		_Error_Handler(__FILE__, __LINE__);
	}

	HAL_TIM_MspPostInit(&htim4);

}

/* USART1 init function */
static void MX_USART1_UART_Init(void) {

	huart1.Instance = USART1;
	huart1.Init.BaudRate = 115200;
	huart1.Init.WordLength = UART_WORDLENGTH_8B;
	huart1.Init.StopBits = UART_STOPBITS_1;
	huart1.Init.Parity = UART_PARITY_NONE;
	huart1.Init.Mode = UART_MODE_TX_RX;
	huart1.Init.HwFlowCtl = UART_HWCONTROL_NONE;
	huart1.Init.OverSampling = UART_OVERSAMPLING_16;
	if (HAL_UART_Init(&huart1) != HAL_OK) {
		_Error_Handler(__FILE__, __LINE__);
	}

}

/* USART3 init function */
static void MX_USART3_UART_Init(void) {

	huart3.Instance = USART3;
	huart3.Init.BaudRate = 115200;
	huart3.Init.WordLength = UART_WORDLENGTH_8B;
	huart3.Init.StopBits = UART_STOPBITS_1;
	huart3.Init.Parity = UART_PARITY_NONE;
	huart3.Init.Mode = UART_MODE_TX_RX;
	huart3.Init.HwFlowCtl = UART_HWCONTROL_NONE;
	huart3.Init.OverSampling = UART_OVERSAMPLING_16;
	if (HAL_UART_Init(&huart3) != HAL_OK) {
		_Error_Handler(__FILE__, __LINE__);
	}

}

static void MX_DMA_Init(void) {
	/* DMA controller clock enable */
	__HAL_RCC_DMA1_CLK_ENABLE()
	;

	/* DMA interrupt init */
	/* DMA1_Channel1_IRQn interrupt configuration */
	HAL_NVIC_SetPriority(DMA1_Channel1_IRQn, 0, 0);
	HAL_NVIC_EnableIRQ(DMA1_Channel1_IRQn);
	/* DMA1_Channel2_IRQn interrupt configuration */
	HAL_NVIC_SetPriority(DMA1_Channel2_IRQn, 0, 0);
	HAL_NVIC_EnableIRQ(DMA1_Channel2_IRQn);
	/* DMA1_Channel3_IRQn interrupt configuration */
	HAL_NVIC_SetPriority(DMA1_Channel3_IRQn, 0, 0);
	HAL_NVIC_EnableIRQ(DMA1_Channel3_IRQn);
	/* DMA1_Channel4_IRQn interrupt configuration */
	HAL_NVIC_SetPriority(DMA1_Channel4_IRQn, 0, 0);
	HAL_NVIC_EnableIRQ(DMA1_Channel4_IRQn);
	/* DMA1_Channel5_IRQn interrupt configuration */
	HAL_NVIC_SetPriority(DMA1_Channel5_IRQn, 0, 0);
	HAL_NVIC_EnableIRQ(DMA1_Channel5_IRQn);

}

/** Configure pins as
 * Analog
 * Input
 * Output
 * EVENT_OUT
 * EXTI
 */
static void MX_GPIO_Init(void) {

	GPIO_InitTypeDef GPIO_InitStruct;

	/* GPIO Ports Clock Enable */
	__HAL_RCC_GPIOC_CLK_ENABLE()
	;
	__HAL_RCC_GPIOD_CLK_ENABLE()
	;
	__HAL_RCC_GPIOA_CLK_ENABLE()
	;
	__HAL_RCC_GPIOB_CLK_ENABLE()
	;

	/*Configure GPIO pin Output Level */
	HAL_GPIO_WritePin(LED0_GPIO_Port, LED0_Pin, GPIO_PIN_RESET);

	/*Configure GPIO pin Output Level */
	HAL_GPIO_WritePin(GPIOA,
			DEBUG0_Pin | DEBUG1_Pin | DEBUG2_Pin | DEBUG3_Pin | TEST_FAIL_Pin
					| TEST_WARN_Pin | TEST_PASS_Pin, GPIO_PIN_RESET);

	/*Configure GPIO pin Output Level */
	HAL_GPIO_WritePin(DUT_RST_GPIO_Port, DUT_RST_Pin, GPIO_PIN_SET);
	HAL_GPIO_WritePin(DUT_RTS_GPIO_Port, DUT_RTS_Pin, GPIO_PIN_SET);

	/*Configure GPIO pin : LED0_Pin */
	GPIO_InitStruct.Pin = LED0_Pin;
	GPIO_InitStruct.Mode = GPIO_MODE_OUTPUT_PP;
	GPIO_InitStruct.Speed = GPIO_SPEED_FREQ_LOW;
	HAL_GPIO_Init(LED0_GPIO_Port, &GPIO_InitStruct);

	/*Configure GPIO pins : DEBUG0_Pin DEBUG1_Pin DEBUG2_Pin DEBUG3_Pin
	 TEST_FAIL_Pin TEST_WARN_Pin TEST_PASS_Pin */
	GPIO_InitStruct.Pin = DEBUG0_Pin | DEBUG1_Pin | DEBUG2_Pin | DEBUG3_Pin
			| TEST_FAIL_Pin | TEST_WARN_Pin | TEST_PASS_Pin;
	GPIO_InitStruct.Mode = GPIO_MODE_OUTPUT_PP;
	GPIO_InitStruct.Speed = GPIO_SPEED_FREQ_LOW;
	HAL_GPIO_Init(GPIOA, &GPIO_InitStruct);

	/*Configure GPIO pin : DUT_RST_Pin */
	GPIO_InitStruct.Pin = DUT_RST_Pin;
	GPIO_InitStruct.Mode = GPIO_MODE_OUTPUT_OD;
	GPIO_InitStruct.Speed = GPIO_SPEED_FREQ_LOW;
	HAL_GPIO_Init(DUT_RST_GPIO_Port, &GPIO_InitStruct);

	/*Configure GPIO pin : USER_BTN_Pin */
	GPIO_InitStruct.Pin = USER_BTN_Pin;
	GPIO_InitStruct.Mode = GPIO_MODE_INPUT;
	GPIO_InitStruct.Pull = GPIO_PULLUP;
	HAL_GPIO_Init(USER_BTN_GPIO_Port, &GPIO_InitStruct);

	GPIO_InitStruct.Pin = DUT_RTS_Pin;
	GPIO_InitStruct.Mode = GPIO_MODE_OUTPUT_PP;
	GPIO_InitStruct.Speed = GPIO_SPEED_FREQ_HIGH;
	HAL_GPIO_Init(DUT_RTS_GPIO_Port, &GPIO_InitStruct);

	GPIO_InitStruct.Pin = DUT_CTS_Pin;
	GPIO_InitStruct.Mode = GPIO_MODE_INPUT;
	GPIO_InitStruct.Pull = GPIO_NOPULL;
	HAL_GPIO_Init(DUT_CTS_GPIO_Port, &GPIO_InitStruct);
}

void _Error_Handler(char *file, int line) {
	while (1) {
	}
}

/************************ (C) COPYRIGHT STMicroelectronics *****END OF FILE****/
